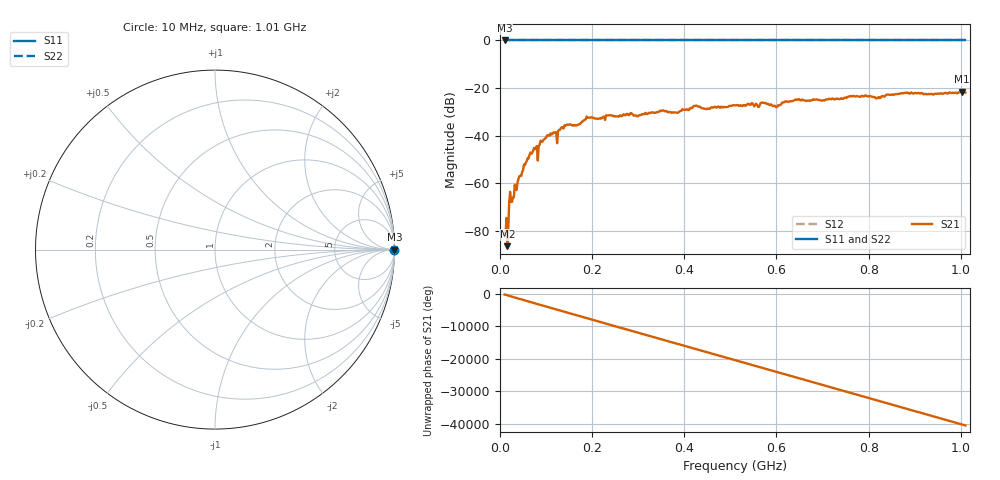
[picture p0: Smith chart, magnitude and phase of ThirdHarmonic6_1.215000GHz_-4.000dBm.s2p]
! 8/16/2025 12:41:35 PM
! C:\ANRITSUVNA\TEMP\TEMP.S2P
! CHANNEL.1
! TR.MEASUREMENT
! RAW.DATA
! RF.CORRECTION.OFF
! AVERAGING.OFF
! IF.BANDWIDTH: 5KHZ
! SWEEPTYPE:  FREQ.SWEEP(Linear)
! Reference Plane Port Info
! PORT:  PORT1  PORT2
! DISTANCE:  0  m  0  m
! TIME:  0  s  0  s
! PHASE.OFFSET:  0  deg.  0  deg.
! LOSS:  0  dB  0  dB
! REF.LOSS:  0  dB  0  dB
! REF.FREQ:  0  Hz  0  Hz
! Power Info
! POWER:  -20  dBm  -20  dBm
! EFF.POWER:  -20  dBm  -20  dBm
! SOURCE.ATTEN:  0  dB  0  dB
! TEST.ATTEN:  0  dB  0  dB
# GHZ S RI R 50.0
! FREQ.GHZ  S11RE  S11IM  S21RE  S21IM  S12RE  S12IM  S22RE  S22IM
!; PortSelection: Port_12
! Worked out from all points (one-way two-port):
!   501 points, 10 MHz to 1.01 GHz, reference 50 ohm
!   highest |S21| = -21.45 dB at 1.002 GHz (marker M1); lowest = -86.3 dB at 16 MHz (marker M2)
!   lowest |S11| = 0.0 dB at 10 MHz (marker M3)
!   |S11| at or under -10 dB: nowhere
!   |S22| runs from 0.0 to 0.0 dB; largest |S21 - S12| = 1.1
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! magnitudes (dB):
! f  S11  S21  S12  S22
! 10 MHz  0.0  -80.7  0.0  0.0
! 14 MHz  0.0  -74.5  0.0  0.0
! 16 MHz  0.0  -86.3  0.0  0.0
! 24 MHz  0.0  -67.7  0.0  0.0
! 56 MHz  0.0  -51.3  0.0  0.0
! 70 MHz  0.0  -47.1  0.0  0.0
! 82 MHz  0.0  -50.4  0.0  0.0
! 88 MHz  0.0  -42.0  0.0  0.0
! 106 MHz  0.0  -39.6  0.0  0.0
! 122 MHz  0.0  -38.5  0.0  0.0
! 144 MHz  0.0  -35.5  0.0  0.0
! 178 MHz  0.0  -34.0  0.0  0.0
! 192 MHz  0.0  -32.4  0.0  0.0
! 344 MHz  0.0  -30.1  0.0  0.0
! 510 MHz  0.0  -27.2  0.0  0.0
! 572 MHz  0.0  -26.2  0.0  0.0
! 598 MHz  0.0  -27.8  0.0  0.0
! 644 MHz  0.0  -25.0  0.0  0.0
! 678 MHz  0.0  -25.0  0.0  0.0
! 844 MHz  0.0  -22.7  0.0  0.0
! 1.002 GHz  0.0  -21.5  0.0  0.0
! 1.01 GHz  0.0  -21.9  0.0  0.0
